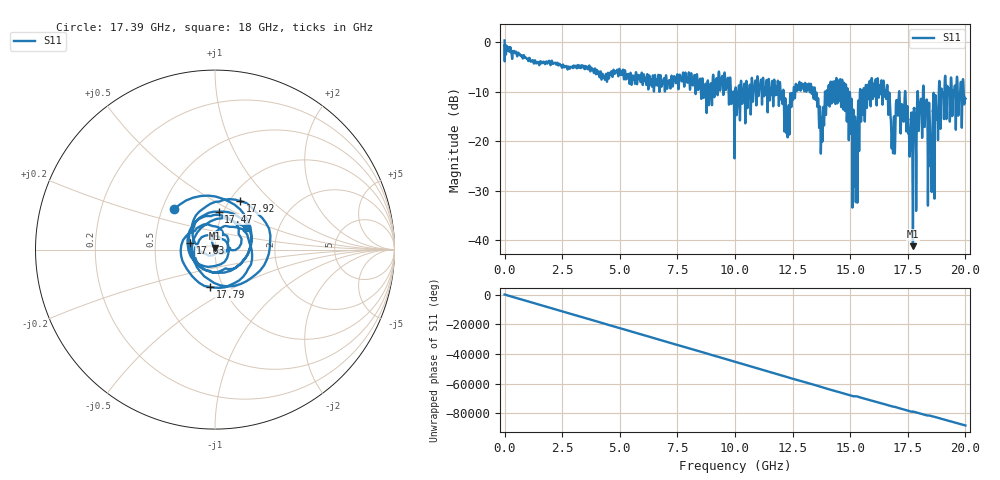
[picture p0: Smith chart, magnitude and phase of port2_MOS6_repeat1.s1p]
! MS46122B
! 2250307/22442219
! 7/24/2025 7:46:59 AM
! C:\USERS\SPARKY\DOCUMENTS\VNA_DATA\JULY24_2025\3K\PORT2_MOS6_REPEAT1.S1P
! CHANNEL.1
! TR.MEASUREMENT
! RAW.DATA
# GHZ S RI R 50.0
! FREQ.GHZ  S11RE  S11IM
!; PortSelection: Port_1
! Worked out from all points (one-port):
!   10001 points, 1 MHz to 20 GHz, reference 50 ohm
!   lowest |S11| = -41.2 dB at 17.72 GHz (marker M1), VSWR 1.02, Z = 49.9 + j0.866 ohm
!   |S11| at or under -10 dB: 14.91 GHz to 15.42 GHz (516.6 MHz wide, 3.41 % of centre); 17.39 GHz to 17.93 GHz (533.1 MHz wide, 3.02 % of centre); 18.19 GHz to 18.85 GHz (652.4 MHz wide, 3.52 % of centre) (the widest 3 of 81)
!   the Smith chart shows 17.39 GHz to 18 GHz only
!   S11 on the Smith chart (normalised r, x): 17.39 GHz: 0.58, +0.29; 17.47 GHz: 0.95, +0.42; 17.63 GHz: 0.76, +0.06; 17.79 GHz: 0.87, -0.38; 17.92 GHz: 1.12, +0.67; 18 GHz: 1.37, +0.35
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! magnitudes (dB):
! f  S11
! 1 MHz  0.4
! 2.501 GHz  -5.0
! 5.001 GHz  -5.7
! 7.501 GHz  -6.5
! 10 GHz  -12.5
! 11.78 GHz  -8.9
! 12.29 GHz  -18.8
! 12.5 GHz  -11.1
! 13.29 GHz  -8.4
! 13.73 GHz  -21.7
! 14.48 GHz  -7.7
! 15 GHz  -12.2
! 15.24 GHz  -30.8
! 15.51 GHz  -9.6
! 16.02 GHz  -8.4
! 16.53 GHz  -9.8
! 16.86 GHz  -22.4
! 17.39 GHz  -9.9
! 17.47 GHz  -13.5
! 17.5 GHz  -14.7
! 17.63 GHz  -16.9
! 17.72 GHz  -41.2
! 17.79 GHz  -13.6
! 17.92 GHz  -10.3
! 18 GHz  -13.4
! 18.46 GHz  -17.8
! 18.94 GHz  -11.2
! 20 GHz  -11.4
